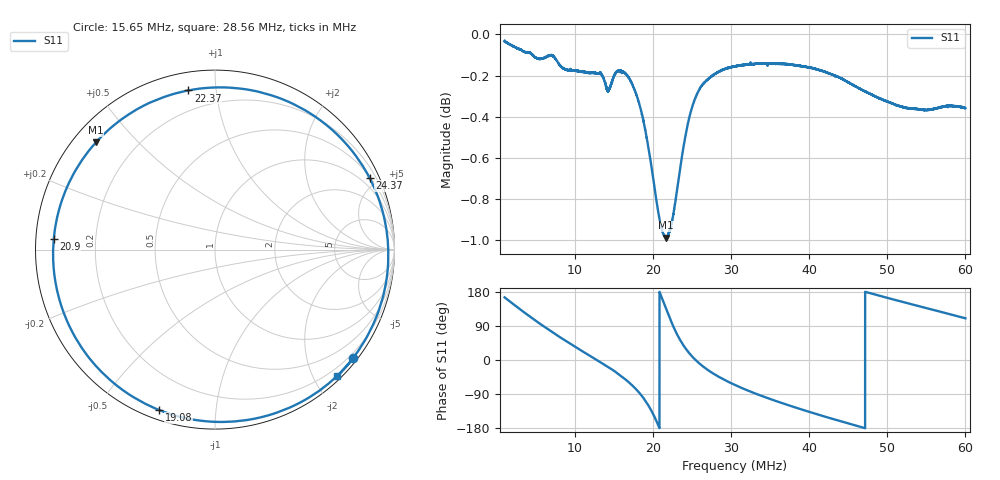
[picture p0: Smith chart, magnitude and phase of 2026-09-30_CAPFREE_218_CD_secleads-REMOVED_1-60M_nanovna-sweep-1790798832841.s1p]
! NanoVNA Web complex sweep
! Processing: unaveraged complex samples; linear segment spacing; no smoothing
# Hz S RI R 50
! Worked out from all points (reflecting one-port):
!   10100 points, 1 MHz to 60 MHz, reference 50 ohm
!   lowest |S11| = -1.0 dB at 21.63 MHz (marker M1), VSWR 17.60, Z = 3.26 + j19.1 ohm
!   phase of S11 starts at 165 deg and turns -775 deg over the sweep
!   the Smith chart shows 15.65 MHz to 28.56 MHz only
!   S11 on the Smith chart (normalised r, x): 15.65 MHz: 0.10, -2.90; 19.08 MHz: 0.04, -0.71; 20.9 MHz: 0.05, +0.03; 22.37 MHz: 0.09, +0.84; 24.37 MHz: 0.55, +4.46; 28.56 MHz: 0.07, -2.36
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1000000  -0.9634 0.2534
3044700  -0.6728 0.7284
4686302  -0.303 0.9404
6503164  0.1432 0.9775
8378446  0.5445 0.8167
1.027125e7  0.833 0.5156
1.212901e7  0.9683 0.1432
1.370051e7  0.9551 -0.1987
1.564589e7  0.7715 -0.6041
1.575105e7  0.7543 -0.6255
1.774317e7  0.2474 -0.9361
1.907515e7  -0.3105 -0.8939
1.995729e7  -0.7107 -0.5913
2.090369e7  -0.8983 0.0587
2.16281e7  -0.6633 0.5972
2.237004e7  -0.149 0.8869
2.31295e7  0.3771 0.8371
2.373706e7  0.6753 0.6463
2.437384e7  0.8611 0.3997
2.596871e7  0.956 -0.1631
2.855671e7  0.681 -0.7041
3.05021e7  0.3986 -0.8977
3.385541e7  -0.0737 -0.981
3.78747e7  -0.5343 -0.8253
4.158437e7  -0.8197 -0.537
4.525315e7  -0.9548 -0.1868
5.262575e7  -0.8287 0.4837
5.999836e7  -0.3286 0.9016
